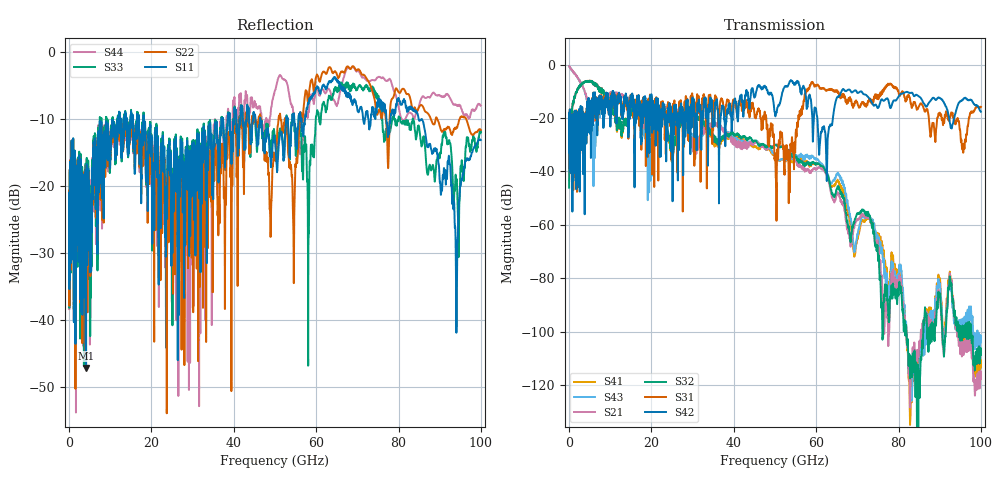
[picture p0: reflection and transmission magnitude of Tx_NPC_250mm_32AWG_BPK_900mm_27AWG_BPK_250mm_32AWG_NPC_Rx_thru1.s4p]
! Info: Touchstone file created by Circ.  Input file=Tx_NPC_250mm_32AWG_BPK_900mm_27AWG_BPK_250mm_32AWG_NPC_Rx.circ
# Hz S RI R 50
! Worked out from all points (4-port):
!   10000 points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, 10 MHz to 100 GHz, reference 50 ohm
!   strongest paths, dB at 10 MHz, 25.01 GHz, 50.01 GHz, 75.01 GHz, 100 GHz:
!     S42: -27.5, -19.4, -18.3, -16.3, -17.6
!     S31: -27.5, -25.1, -33.3, -11.9, -15.8
!     S32: -46.1, -33.9, -30.2, -72.2, -108.7
!     S21: -0.6, -16.0, -30.2, -70.1, -117.8
!     S43: -0.6, -15.9, -33.6, -67.1, -103.9
!     S41: -43.6, -35.1, -34.0, -66.2, -113.3
!   lowest |S11| = -47.2 dB at 4.13 GHz (marker M1), VSWR 1.01, Z = 50.1 - j0.428 ohm
!   |S11| at or under -10 dB: start of sweep to 11.83 GHz; 18.11 GHz to 37.02 GHz (18.91 GHz wide, 68.6 % of centre); 85.71 GHz to end of sweep (the widest 3 of 44)
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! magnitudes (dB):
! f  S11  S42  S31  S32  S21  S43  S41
! 10 MHz  -23.2  -27.5  -27.5  -46.1  -0.6  -0.6  -43.6
! 4.13 GHz  -47.2  -21.4  -21.0  -6.2  -11.5  -11.7  -6.2
! 42.93 GHz  -10.5  -11.0  -15.6  -27.6  -29.2  -29.4  -29.5
! 50.34 GHz  -16.2  -18.0  -49.7  -30.1  -29.9  -34.0  -34.5
! 58.96 GHz  -6.5  -17.5  -7.0  -36.7  -39.6  -34.1  -37.0
! 75.88 GHz  -8.5  -13.0  -10.1  -90.7  -79.7  -69.3  -67.1
! 100 GHz  -13.1  -17.6  -15.8  -108.7  -117.8  -103.9  -113.3
